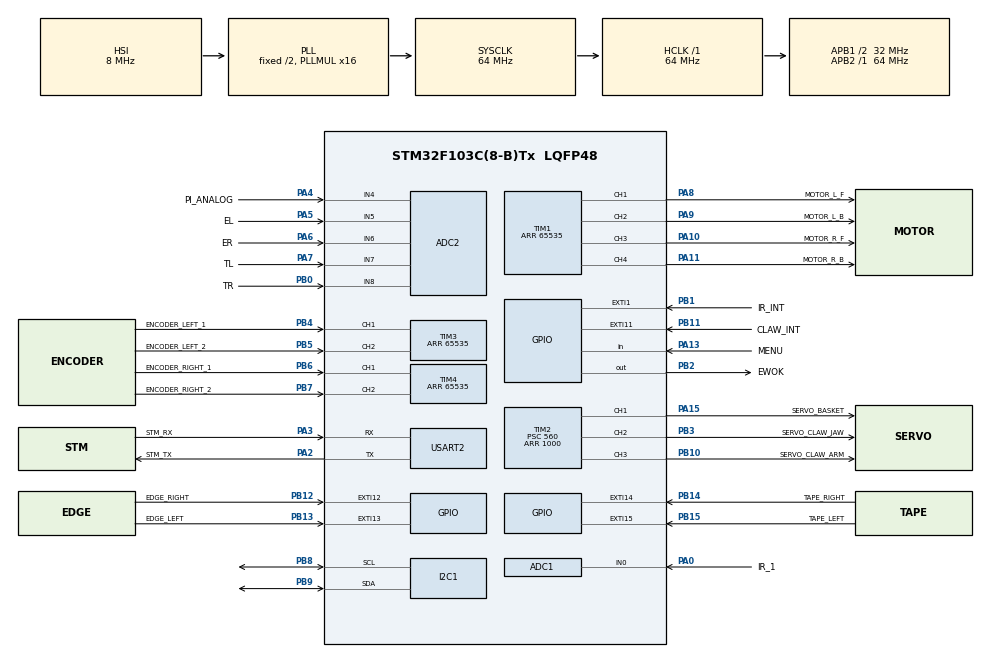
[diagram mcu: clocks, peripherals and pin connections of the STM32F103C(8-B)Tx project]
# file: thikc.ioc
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ADC1.Channel-0\#ChannelRegularConversion=ADC_CHANNEL_0
ADC1.ContinuousConvMode=ENABLE
ADC1.DataAlign=ADC_DATAALIGN_RIGHT
ADC1.DiscontinuousConvMode=DISABLE
ADC1.EnableAnalogWatchDog=false
ADC1.EnableRegularConversion=ENABLE
ADC1.ExternalTrigConv=ADC_SOFTWARE_START
ADC1.InjNumberOfConversion=0
ADC1.NbrOfConversion=1
ADC1.NbrOfConversionFlag=1
ADC1.Rank-0\#ChannelRegularConversion=1
ADC1.SamplingTime-0\#ChannelRegularConversion=ADC_SAMPLETIME_239CYCLES_5
ADC1.ScanConvMode=ADC_SCAN_DISABLE
ADC1.master=1
ADC2.Channel-21\#ChannelRegularConversion=ADC_CHANNEL_4
ADC2.ContinuousConvMode=ENABLE
ADC2.DataAlign=ADC_DATAALIGN_RIGHT
ADC2.DiscontinuousConvMode=DISABLE
ADC2.EnableAnalogWatchDog=false
ADC2.EnableRegularConversion=ENABLE
ADC2.ExternalTrigConv=ADC_SOFTWARE_START
ADC2.InjNumberOfConversion=0
ADC2.NbrOfConversion=1
ADC2.NbrOfConversionFlag=1
ADC2.Rank-21\#ChannelRegularConversion=1
ADC2.SamplingTime-21\#ChannelRegularConversion=ADC_SAMPLETIME_239CYCLES_5
ADC2.ScanConvMode=ADC_SCAN_DISABLE
Dma.ADC1.0.Direction=DMA_PERIPH_TO_MEMORY
Dma.ADC1.0.Instance=DMA1_Channel1
Dma.ADC1.0.MemDataAlignment=DMA_MDATAALIGN_WORD
Dma.ADC1.0.MemInc=DMA_MINC_ENABLE
Dma.ADC1.0.Mode=DMA_CIRCULAR
Dma.ADC1.0.PeriphDataAlignment=DMA_PDATAALIGN_WORD
Dma.ADC1.0.PeriphInc=DMA_PINC_DISABLE
Dma.ADC1.0.Priority=DMA_PRIORITY_VERY_HIGH
Dma.Request0=ADC1
Mcu.Family=STM32F1
Mcu.Name=STM32F103C(8-B)Tx
Mcu.Package=LQFP48
NVIC.ADC1_2_IRQn=true\:0\:0\:false\:false\:true\:true
NVIC.DMA1_Channel1_IRQn=true\:0\:0\:false\:false\:true\:false
NVIC.EXTI15_10_IRQn=true\:0\:0\:false\:false\:true\:true
NVIC.EXTI1_IRQn=true\:0\:0\:false\:false\:true\:true
NVIC.PriorityGroup=NVIC_PRIORITYGROUP_4
PA0-WKUP.GPIO_Label=IR_1
PA0-WKUP.Signal=ADCx_IN0
PA10.GPIO_Label=MOTOR_R_F
PA10.GPIO_Speed=GPIO_SPEED_FREQ_HIGH
PA10.Signal=S_TIM1_CH3
PA11.GPIO_Label=MOTOR_R_B
PA11.GPIO_Speed=GPIO_SPEED_FREQ_HIGH
PA11.Signal=S_TIM1_CH4
PA13.GPIO_Label=MENU
PA13.GPIO_PuPd=GPIO_PULLUP
PA13.Signal=GPIO_Input
PA15.GPIO_Label=SERVO_BASKET
PA15.GPIO_ModeDefaultPP=GPIO_MODE_AF_OD
PA15.GPIO_Speed=GPIO_SPEED_FREQ_HIGH
PA15.Signal=S_TIM2_CH1_ETR
PA2.GPIO_Label=STM_TX
PA2.Mode=Asynchronous
PA2.Signal=USART2_TX
PA3.GPIO_Label=STM_RX
PA3.Mode=Asynchronous
PA3.Signal=USART2_RX
PA4.GPIO_Label=PI_ANALOG
PA4.Signal=ADCx_IN4
PA5.GPIO_Label=EL
PA5.Signal=ADCx_IN5
PA6.GPIO_Label=ER
PA6.Signal=ADCx_IN6
PA7.GPIO_Label=TL
PA7.Signal=ADCx_IN7
PA8.GPIO_Label=MOTOR_L_F
PA8.GPIO_Speed=GPIO_SPEED_FREQ_HIGH
PA8.Signal=S_TIM1_CH1
PA9.GPIO_Label=MOTOR_L_B
PA9.GPIO_Speed=GPIO_SPEED_FREQ_HIGH
PA9.Signal=S_TIM1_CH2
PB0.GPIO_Label=TR
PB0.Signal=ADCx_IN8
PB1.GPIO_Label=IR_INT
PB1.Signal=GPXTI1
PB10.GPIO_Label=SERVO_CLAW_ARM
PB10.GPIO_ModeDefaultPP=GPIO_MODE_AF_OD
PB10.GPIO_Speed=GPIO_SPEED_FREQ_HIGH
PB10.Signal=S_TIM2_CH3
PB11.GPIO_Label=CLAW_INT
PB11.GPIO_ModeDefaultEXTI=GPIO_MODE_IT_FALLING
PB11.Signal=GPXTI11
PB12.GPIO_Label=EDGE_RIGHT
PB12.GPIO_PuPd=GPIO_PULLUP
PB12.Signal=GPXTI12
PB13.GPIO_Label=EDGE_LEFT
PB13.GPIO_PuPd=GPIO_PULLUP
PB13.Signal=GPXTI13
PB14.GPIO_Label=TAPE_RIGHT
PB14.GPIO_PuPd=GPIO_PULLUP
PB14.Signal=GPXTI14
PB15.GPIO_Label=TAPE_LEFT
PB15.GPIO_PuPd=GPIO_PULLUP
PB15.Signal=GPXTI15
PB2.GPIO_Label=EWOK
PB2.Signal=GPIO_Output
PB3.GPIO_Label=SERVO_CLAW_JAW
PB3.GPIO_ModeDefaultPP=GPIO_MODE_AF_OD
PB3.GPIO_Speed=GPIO_SPEED_FREQ_HIGH
PB3.Signal=S_TIM2_CH2
PB4.GPIO_Label=ENCODER_LEFT_1
PB4.GPIO_PuPd=GPIO_PULLUP
PB4.Signal=S_TIM3_CH1
PB5.GPIO_Label=ENCODER_LEFT_2
PB5.GPIO_PuPd=GPIO_PULLUP
PB5.Signal=S_TIM3_CH2
PB6.GPIO_Label=ENCODER_RIGHT_1
PB6.GPIO_PuPd=GPIO_PULLUP
PB6.Signal=S_TIM4_CH1
PB7.GPIO_Label=ENCODER_RIGHT_2
PB7.GPIO_PuPd=GPIO_PULLUP
PB7.Signal=S_TIM4_CH2
PB8.Mode=I2C
PB8.Signal=I2C1_SCL
PB9.Mode=I2C
PB9.Signal=I2C1_SDA
ProjectManager.HeapSize=0x200
ProjectManager.StackSize=0x400
ProjectManager.TargetToolchain=Makefile
RCC.ADCPresc=RCC_ADCPCLK2_DIV6
RCC.AHBFreq_Value=64000000
RCC.APB1CLKDivider=RCC_HCLK_DIV2
RCC.APB1Freq_Value=32000000
RCC.APB1TimFreq_Value=64000000
RCC.APB2Freq_Value=64000000
RCC.APB2TimFreq_Value=64000000
RCC.HCLKFreq_Value=64000000
RCC.PLLMUL=RCC_PLL_MUL16
RCC.SYSCLKFreq_VALUE=64000000
RCC.SYSCLKSource=RCC_SYSCLKSOURCE_PLLCLK
RCC.USBFreq_Value=64000000
SH.ADCx_IN0.0=ADC1_IN0,IN0
SH.ADCx_IN4.0=ADC2_IN4,IN4
SH.ADCx_IN5.0=ADC2_IN5,IN5
SH.ADCx_IN6.0=ADC2_IN6,IN6
SH.ADCx_IN7.0=ADC2_IN7,IN7
SH.ADCx_IN8.0=ADC2_IN8,IN8
SH.S_TIM1_CH1.0=TIM1_CH1,PWM Generation1 CH1
SH.S_TIM1_CH2.0=TIM1_CH2,PWM Generation2 CH2
SH.S_TIM1_CH3.0=TIM1_CH3,PWM Generation3 CH3
SH.S_TIM1_CH4.0=TIM1_CH4,PWM Generation4 CH4
SH.S_TIM2_CH1_ETR.0=TIM2_CH1,PWM Generation1 CH1
SH.S_TIM2_CH2.0=TIM2_CH2,PWM Generation2 CH2
SH.S_TIM2_CH3.0=TIM2_CH3,PWM Generation3 CH3
SH.S_TIM3_CH1.0=TIM3_CH1,Encoder_Interface
SH.S_TIM3_CH2.0=TIM3_CH2,Encoder_Interface
SH.S_TIM4_CH1.0=TIM4_CH1,Encoder_Interface
SH.S_TIM4_CH2.0=TIM4_CH2,Encoder_Interface
TIM1.AutomaticOutput=TIM_AUTOMATICOUTPUT_DISABLE
TIM1.Channel-PWM\ Generation1\ CH1=TIM_CHANNEL_1
TIM1.Channel-PWM\ Generation2\ CH2=TIM_CHANNEL_2
TIM1.Channel-PWM\ Generation3\ CH3=TIM_CHANNEL_3
TIM1.Channel-PWM\ Generation4\ CH4=TIM_CHANNEL_4
TIM1.Period=65535
TIM2.Channel-PWM\ Generation1\ CH1=TIM_CHANNEL_1
TIM2.Channel-PWM\ Generation2\ CH2=TIM_CHANNEL_2
TIM2.Channel-PWM\ Generation3\ CH3=TIM_CHANNEL_3
TIM2.Period=1000
TIM2.Prescaler=560
TIM3.EncoderMode=TIM_ENCODERMODE_TI12
TIM3.IC1Filter=15
TIM3.IC2Filter=15
TIM3.Period=65535
TIM4.EncoderMode=TIM_ENCODERMODE_TI12
TIM4.IC1Filter=15
TIM4.IC2Filter=15
TIM4.Period=65535
USART2.VirtualMode=VM_ASYNC
VP_SYS_VS_ND.Mode=No_Debug
VP_TIM1_VS_ClockSourceINT.Mode=Internal
VP_TIM2_VS_ClockSourceINT.Mode=Internal
board=custom

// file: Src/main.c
/**
 ******************************************************************************
 * @file           : main.c
 * @brief          : Main program body
 ******************************************************************************
 ** This notice applies to any and all portions of this file
 * that are not between comment pairs USER CODE BEGIN and
 * USER CODE END. Other portions of this file, whether
 * inserted by the user or by software development tools
 * are owned by their respective copyright owners.
 *
 * COPYRIGHT(c) 2018 STMicroelectronics
 *
 * Redistribution and use in source and binary forms, with or without modification,
 * are permitted provided that the following conditions are met:
 *   1. Redistributions of source code must retain the above copyright notice,
 *      this list of conditions and the following disclaimer.
 *   2. Redistributions in binary form must reproduce the above copyright notice,
 *      this list of conditions and the following disclaimer in the documentation
 *      and/or other materials provided with the distribution.
 *   3. Neither the name of STMicroelectronics nor the names of its contributors
 *      may be used to endorse or promote products derived from this software
 *      without specific prior written permission.
 *
 * THIS SOFTWARE IS PROVIDED BY THE COPYRIGHT HOLDERS AND CONTRIBUTORS "AS IS"
 * AND ANY EXPRESS OR IMPLIED WARRANTIES, INCLUDING, BUT NOT LIMITED TO, THE
 * IMPLIED WARRANTIES OF MERCHANTABILITY AND FITNESS FOR A PARTICULAR PURPOSE ARE
 * DISCLAIMED. IN NO EVENT SHALL THE COPYRIGHT HOLDER OR CONTRIBUTORS BE LIABLE
 * FOR ANY DIRECT, INDIRECT, INCIDENTAL, SPECIAL, EXEMPLARY, OR CONSEQUENTIAL
 * DAMAGES (INCLUDING, BUT NOT LIMITED TO, PROCUREMENT OF SUBSTITUTE GOODS OR
 * SERVICES; LOSS OF USE, DATA, OR PROFITS; OR BUSINESS INTERRUPTION) HOWEVER
 * CAUSED AND ON ANY THEORY OF LIABILITY, WHETHER IN CONTRACT, STRICT LIABILITY,
 * OR TORT (INCLUDING NEGLIGENCE OR OTHERWISE) ARISING IN ANY WAY OUT OF THE USE
 * OF THIS SOFTWARE, EVEN IF ADVISED OF THE POSSIBILITY OF SUCH DAMAGE.
 *
 ******************************************************************************
 */
#include "main.h"
#include "stm32f1xx_hal.h"
#include "adc.h"
#include "dma.h"
#include "i2c.h"
#include "tim.h"
#include "usart.h"
#include "gpio.h"

/* USER CODE BEGIN Includes */
#include "fonts.h"
#include "ssd1306.h"
#include "encoder.h"
#include "pid.h"
#include "filter.h"
#include "extern_vars.h"
#include <String.h>
#include "claw.h"

/* USER CODE END Includes */

/* USER CODE BEGIN PV */
/* Private variables ---------------------------------------------------------*/
uint16_t LEFT_SPEED = 40000;
uint16_t RIGHT_SPEED = 45000;
uint32_t dma_buffer[2048];
uint32_t ir_values[2048];
/* USER CODE END PV */

void SystemClock_Config(void);

/* USER CODE BEGIN PFP */
/* Private function prototypes -----------------------------------------------*/
void print(char msg[], int row);
void do_pid(PID_t *pid_struct);
PID_t menu();
void frequency_comparison(uint16_t freq1, uint16_t freq2, uint16_t GPIO_Pin);
void pi_navigation();
float calculate_heading(uint32_t adc_val);
void encoder_pid(PID_t *left_pid, ENCODER_t *left_enc, PID_t *right_pid, ENCODER_t *right_enc);
void set_motor_speed(uint32_t channel, uint32_t speed);
void turn();
void alarm_detect();

/* USER CODE END PFP */

/* USER CODE BEGIN 0 */
/**
 * @brief Circu;ar DMA buffer loading on each full buffer
 * DMA uses dma_buffer, transfers data to ir_values for us to use
 * Order of buffer: ir1, ir2, ir1, ir2...
 */
void HAL_ADC_ConvCpltCallback(ADC_HandleTypeDef *hadc)
{
    memcpy(ir_values, dma_buffer, sizeof(dma_buffer));
}

/* USER CODE END 0 */

int main(void)
{

    /* MCU Configuration----------------------------------------------------------*/

    /* Reset of all peripherals, Initializes the Flash interface and the Systick. */
    HAL_Init();

    /* Configure the system clock */
    SystemClock_Config();

    /* Initialize all configured peripherals */
    MX_GPIO_Init();
    MX_DMA_Init();
    MX_TIM4_Init();
    MX_TIM3_Init();
    MX_TIM1_Init();
    MX_ADC1_Init();
    MX_TIM2_Init();
    MX_USART2_UART_Init();
    MX_ADC2_Init();
    MX_I2C1_Init();
    /* USER CODE BEGIN 2 */

    /* Initialize peripherals */
    HAL_TIM_Encoder_Start(&htim3, TIM_CHANNEL_ALL);
    HAL_TIM_Encoder_Start(&htim4, TIM_CHANNEL_ALL);
    HAL_TIM_PWM_Start(&htim1, TIM_CHANNEL_1);
    HAL_TIM_PWM_Start(&htim1, TIM_CHANNEL_2);
    HAL_TIM_PWM_Start(&htim1, TIM_CHANNEL_3);
    HAL_TIM_PWM_Start(&htim1, TIM_CHANNEL_4);
    HAL_TIM_PWM_Start(&htim2, TIM_CHANNEL_1);
    HAL_TIM_PWM_Start(&htim2, TIM_CHANNEL_2);
    HAL_TIM_PWM_Start(&htim2, TIM_CHANNEL_3);
    ssd1306_Init();
    print("Starting...", 0);
    claw_init(&htim2);

    /* Initialize other stuffs*/
    // 3 * gain * kp = 20,000
    ENCODER_t left_enc = encoder_Init(TIM3);
    ENCODER_t right_enc = encoder_Init(TIM4);
    PID_t left_pid = pid_Init(1000, 250, 0, 2, 2);
    PID_t right_pid = pid_Init(6000, 500, 0, 2, 2);
    //PID_t pid_struct = menu();
    /* USER CODE END 2 */

    /* Infinite loop */
    /* USER CODE BEGIN WHILE */

    while (1)
    {
        // // encoder_pid(&left_pid, &left_enc, &right_pid, &right_enc);
        print("in whiel", 0);
        // set_motor_speed(TIM_CHANNEL_1, LEFT_SPEED);
        // set_motor_speed(TIM_CHANNEL_3, RIGHT_SPEED);
        // if (CLAW_INT_STATE == FLAGGED)
        // {
        //     print("CLAW INT", 0);
        //     set_motor_speed(TIM_CHANNEL_1, 0);
        //     set_motor_speed(TIM_CHANNEL_3, 0);
        //     actuatengo(&htim2, TIM_CHANNEL_2, TIM_CHANNEL_3);
        //     HAL_Delay(1000);
        //     CLAW_INT_STATE = NOT_FLAGGED;
        // }
        if (PI_INT_STATE == FLAGGED)
        {
            print("in pi int", 0);
            turn();

            set_motor_speed(TIM_CHANNEL_1, LEFT_SPEED);
            set_motor_speed(TIM_CHANNEL_3, RIGHT_SPEED);
            int start = HAL_GetTick();
            while (HAL_GetTick() - start < 2000)
            {
                // encoder_dist_pid(&left_pid);
                if (CLAW_INT_STATE == FLAGGED)
                {
                    set_motor_speed(TIM_CHANNEL_1, 0);
                    set_motor_speed(TIM_CHANNEL_3, 0);
                    actuatengo(&htim2, TIM_CHANNEL_2, TIM_CHANNEL_3);
                    CLAW_INT_STATE = NOT_FLAGGED;
                    break;
                }
            }
            uint8_t pic_plz = 1;
            HAL_UART_Transmit(&huart2, pic_plz, sizeof(pic_plz), 10000);
            PI_INT_STATE = NOT_FLAGGED;
            set_motor_speed(TIM_CHANNEL_1, 0);
            set_motor_speed(TIM_CHANNEL_3, 0);
        }
        // if (IR_INT_STATE == FLAGGED)
        // {
        //     alarm_detect();
        // }
        /* USER CODE END WHILE */

    }
}

void SystemClock_Config(void)
{

    RCC_OscInitTypeDef RCC_OscInitStruct;
    RCC_ClkInitTypeDef RCC_ClkInitStruct;
    RCC_PeriphCLKInitTypeDef PeriphClkInit;

    /**Initializes the CPU, AHB and APB busses clocks
    */
    RCC_OscInitStruct.OscillatorType = RCC_OSCILLATORTYPE_HSI;
    RCC_OscInitStruct.HSIState = RCC_HSI_ON;
    RCC_OscInitStruct.HSICalibrationValue = 16;
    RCC_OscInitStruct.PLL.PLLState = RCC_PLL_ON;
    RCC_OscInitStruct.PLL.PLLSource = RCC_PLLSOURCE_HSI_DIV2;
    RCC_OscInitStruct.PLL.PLLMUL = RCC_PLL_MUL16;
    if (HAL_RCC_OscConfig(&RCC_OscInitStruct) != HAL_OK)
    {
        _Error_Handler(__FILE__, __LINE__);
    }

    /**Initializes the CPU, AHB and APB busses clocks
    */
    RCC_ClkInitStruct.ClockType = RCC_CLOCKTYPE_HCLK | RCC_CLOCKTYPE_SYSCLK | RCC_CLOCKTYPE_PCLK1 | RCC_CLOCKTYPE_PCLK2;
    RCC_ClkInitStruct.SYSCLKSource = RCC_SYSCLKSOURCE_PLLCLK;
    RCC_ClkInitStruct.AHBCLKDivider = RCC_SYSCLK_DIV1;
    RCC_ClkInitStruct.APB1CLKDivider = RCC_HCLK_DIV2;
    RCC_ClkInitStruct.APB2CLKDivider = RCC_HCLK_DIV1;

    if (HAL_RCC_ClockConfig(&RCC_ClkInitStruct, FLASH_LATENCY_2) != HAL_OK)
    {
        _Error_Handler(__FILE__, __LINE__);
    }

    PeriphClkInit.PeriphClockSelection = RCC_PERIPHCLK_ADC;
    PeriphClkInit.AdcClockSelection = RCC_ADCPCLK2_DIV6;
    if (HAL_RCCEx_PeriphCLKConfig(&PeriphClkInit) != HAL_OK)
    {
        _Error_Handler(__FILE__, __LINE__);
    }

    /**Configure the Systick interrupt time
    */
    HAL_SYSTICK_Config(HAL_RCC_GetHCLKFreq() / 1000);

    /**Configure the Systick
    */
    HAL_SYSTICK_CLKSourceConfig(SYSTICK_CLKSOURCE_HCLK);

    /* SysTick_IRQn interrupt configuration */
    HAL_NVIC_SetPriority(SysTick_IRQn, 0, 0);
}

/* USER CODE BEGIN 4 */

/*
 * Assume motors are not on.
 * Reads adc, turns left or right based on voltage. Left max= 0 , no turn = 1.65 V, right max = 3.3V.
 */
void turn()
{
    HAL_ADC_Start(&hadc2);
    if (HAL_ADC_PollForConversion(&hadc2, 100) == HAL_OK)
    {
        float volts = calculate_heading(HAL_ADC_GetValue(&hadc2));
        uint16_t counts = TURN_CONST * fabs(volts);
        TIM3->CNT = 0;
        TIM4->CNT = 0;

        char msg[18] = "";
        sprintf(msg, "cnts: %d", counts);
        print(msg, 0);
        int pre_dec = (int)(volts / 1);
        int post_dec = (int)((volts - pre_dec) * 1000);
        sprintf(msg, "vlts: %d.%d", pre_dec, post_dec);
        print(msg, 2);

        if (volts < -0.07)  // FIXME: Ben changed this
        {
            set_motor_speed(TIM_CHANNEL_1, 0);
            set_motor_speed(TIM_CHANNEL_3, 30000);
            while (TIM4->CNT < counts)
            {
                sprintf(msg, "TIM4->CNT: %d", TIM4->CNT);
                print(msg, 4);
            }
            sprintf(msg, "TIM4->CNT: %d", TIM4->CNT);
            print(msg, 4);
            TIM4->CNT = 0;
        }
        else if (volts > 0.07)  // FIXME: Ben changed this
        {
            set_motor_speed(TIM_CHANNEL_1, 30000);
            set_motor_speed(TIM_CHANNEL_3, 0);
            while (TIM3->CNT < counts)
            {
                sprintf(msg, "TIM3->CNT: %d", TIM3->CNT);
                print(msg, 4);
            }
            sprintf(msg, "TIM3->CNT: %d", TIM3->CNT);
            print(msg, 4);
            TIM3->CNT = 0;
        }
        set_motor_speed(TIM_CHANNEL_1, 0);
        set_motor_speed(TIM_CHANNEL_3, 0);
    }
    else
    {
        print("Shits fucked yo", 0);
    }
    HAL_ADC_Stop(&hadc2);
}

void pi_navigation()
{
    HAL_ADC_Start(&hadc2);
    print("Pi nav", 0);
    if (HAL_ADC_PollForConversion(&hadc2, 1000000) == HAL_OK)
    {
        float heading = calculate_heading(HAL_ADC_GetValue(&hadc2));
        if (heading < 0)
        {
            set_motor_speed(TIM_CHANNEL_2, 10000);
            set_motor_speed(TIM_CHANNEL_3, 10000);
            heading *= -1;
        }
        else if (heading > 0)
        {
            set_motor_speed(TIM_CHANNEL_1, 10000);
            set_motor_speed(TIM_CHANNEL_4, 10000);
        }
        HAL_Delay(2000 * heading);
        set_motor_speed(TIM_CHANNEL_1, 20000);
        set_motor_speed(TIM_CHANNEL_3, 20000);
    }
    else
    {
        print("No adc", 0);
    }
    HAL_ADC_Stop(&hadc2);
    PI_INT_STATE = NOT_FLAGGED;
}

/**
 * Resistor ladder: 8-bit, 0->3.3v.
 * ADC: 12-bit, 0->3.3V
 *
 * @param adc_val, value read from ADC.
 * @return heading as a percentage from -50 (left) to 50 (right).
 **/
float calculate_heading(uint32_t adc_val)
{
    return adc_val / 4096.0 - 0.5;
}

void alarm_detect()
{
    HAL_ADC_Start_DMA(&hadc1, dma_buffer, sizeof(dma_buffer) / sizeof(dma_buffer[0]));
    //TODO calculate time needed to fill first buffer
    HAL_Delay(500);
    while (1)
    {
        char msg[18] = "";
        // Sampling frequency: 10.6667e6/(2*(239.5+15))
        // freq one
        double val = goertzel(ir_values, 20956, 10000, sizeof(dma_buffer) / sizeof(dma_buffer[0]), 0);
        int predec = (int)(val / 1);
        int postdec = (int)((val - predec) * 1000);
        sprintf(msg, "%d.%d\n", predec, postdec);
        print(msg, 0);
        //compare
        if (val > 10)
        {
            break;
        }
    }
    print("Go", 0);
    HAL_ADC_Stop_DMA(&hadc1);
    IR_INT_STATE = NOT_FLAGGED;
}

void frequency_comparison(uint16_t freq1, uint16_t freq2, uint16_t GPIO_Pin)
{
    uint16_t offset = GPIO_Pin == IR_1_Pin ? 0 : GPIO_Pin == IR_2_Pin ? 1 : 2;
    HAL_ADC_Start_DMA(&hadc1, dma_buffer, sizeof(dma_buffer) / sizeof(dma_buffer[0]));
    //TODO calculate time needed to fill first buffer
    HAL_Delay(500);
    //TODO figure out thresholds and what we want to look for
    while (1)
    {
        char msg[18] = "";
        // Sampling frequency: 10.6667e6/(2*(239.5+15))
        // freq one
        double val1 = goertzel(ir_values, 20956, freq1, sizeof(dma_buffer) / sizeof(dma_buffer[0]), offset);
        int predec = (int)(val1 / 1);
        int postdec = (int)((val1 - predec) * 1000);
        sprintf(msg, "%d.%d\n", predec, postdec);
        print(msg, 0);
        HAL_UART_Transmit(&huart2, (uint8_t *)msg, strlen(msg), 0xFFFF);
        //freq2
        double val2 = goertzel(ir_values, 20956, freq2, sizeof(dma_buffer) / sizeof(dma_buffer[0]), offset);
        predec = (int)(val2 / 1);
        postdec = (int)((val2 - predec) * 1000);
        sprintf(msg, "%d.%d", predec, postdec);
        HAL_UART_Transmit(&huart2, (uint8_t *)msg, strlen(msg), 0xFFFF);
        //compare
        if (val1 > val2)
        {
            break;
        }
    }
    HAL_ADC_Stop_DMA(&hadc1);
    IR_INT_STATE = NOT_FLAGGED;
}

/**
 * @brief prints string to row, rows from 0 - 6, resets screen when printing from row 0
 * @param msg, string to print
 * @param row, row to print msg to
 */
void print(char *msg, int row)
{
    if (row == 0)
    {
        ssd1306_Fill(Black);
    }
    ssd1306_SetCursor(0, row * 10);
    ssd1306_WriteString(msg, Font_7x10, White);
    ssd1306_UpdateScreen();
}

PID_t menu()
{
    print("Starting", 0);
    char msg[20] = "";
    int pid_select = 0;
    uint32_t values[3] = {0, 0, 0};
    while (1)
    {
        if (HAL_GPIO_ReadPin(MENU_GPIO_Port, MENU_Pin) == 0)
        {
            sprintf(msg, "%lu", values[pid_select]);
            print(msg, 0);
            TIM4->CNT = values[pid_select];
            while (HAL_GPIO_ReadPin(MENU_GPIO_Port, MENU_Pin) == 0)
            {
                values[pid_select] = TIM4->CNT;
                sprintf(msg, "%lu", values[pid_select]);
                print(msg, 0);
            }
            ++pid_select;
        }
        if (pid_select == 3)
            break;
    }
    while (1)
    {
        int speed = 20000;
        if (HAL_GPIO_ReadPin(MENU_GPIO_Port, MENU_Pin) == 0)
        {
            if (pid_select == 3)
            {
                HAL_TIM_PWM_Start(&htim1, TIM_CHANNEL_1);
                HAL_TIM_PWM_Stop(&htim1, TIM_CHANNEL_3);
            }
            else
            {
                HAL_TIM_PWM_Stop(&htim1, TIM_CHANNEL_1);
                HAL_TIM_PWM_Start(&htim1, TIM_CHANNEL_3);
            }
            sprintf(msg, "%d", speed);
            print(msg, 0);
            TIM4->CNT = speed;
            while (HAL_GPIO_ReadPin(MENU_GPIO_Port, MENU_Pin) == 0)
            {
                speed = TIM4->CNT;
                sprintf(msg, "%d", speed);
                print(msg, 0);
                if (pid_select == 3)
                {
                    __HAL_TIM_SET_COMPARE(&htim1, TIM_CHANNEL_1, speed);
                    LEFT_SPEED = speed;
                }
                else
                {
                    __HAL_TIM_SET_COMPARE(&htim1, TIM_CHANNEL_3, speed);
                    RIGHT_SPEED = speed;
                }
            }
            ++pid_select;
        }
        if (pid_select == 5)
        {
            break;
        }
    }
    HAL_TIM_PWM_Stop(&htim1, TIM_CHANNEL_1);
    HAL_TIM_PWM_Stop(&htim1, TIM_CHANNEL_3);
    sprintf(msg, "P %lu", values[0]);
    print(msg, 0);
    sprintf(msg, "D %lu", values[1]);
    print(msg, 1);
    sprintf(msg, "I %lu", values[2]);
    print(msg, 2);
    sprintf(msg, "L %u", LEFT_SPEED);
    print(msg, 3);
    sprintf(msg, "R %u", RIGHT_SPEED);
    print(msg, 4);
    HAL_Delay(1000);
    HAL_TIM_PWM_Start(&htim1, TIM_CHANNEL_1);
    HAL_TIM_PWM_Start(&htim1, TIM_CHANNEL_3);
    return pid_Init(values[0], values[1], values[2], 5, 100);
}

void do_pid(PID_t *pid_struct)
{
    /* Read sensors */
    uint8_t left = HAL_GPIO_ReadPin(TAPE_LEFT_GPIO_Port, TAPE_LEFT_Pin) ? 0 : 1;
    uint8_t right = HAL_GPIO_ReadPin(TAPE_RIGHT_GPIO_Port, TAPE_RIGHT_Pin) ? 0 : 1;

    /* Get error */
    if (left && right)
    {
        pid_struct->err = 0;
    }
    else if (left && !right)
    {
        pid_struct->err = 1;
    }
    else if (!left && right)
    {
        pid_struct->err = -1;
    }
    else if (!left && !right && (pid_struct->err < 0))
    {
        pid_struct->err = -5;
    }
    else if (!left && !right && (pid_struct->err > 0))
    {
        pid_struct->err = 5;
    }

    /* Get gain */
    int16_t gain = pid_GetGain(pid_struct);
    char msg[20] = "";
    sprintf(msg, "%d", (int)gain);
    print(msg, 0);
    /* Set Motor Speeds*/
    int lspeed = LEFT_SPEED;
    int rspeed = RIGHT_SPEED;
    if (gain < 0)
    {
        lspeed = LEFT_SPEED - gain;
    }
    else if (gain > 0)
    {
        rspeed = RIGHT_SPEED + gain;
    }
    __HAL_TIM_SET_COMPARE(&htim1, TIM_CHANNEL_1, lspeed);
    __HAL_TIM_SET_COMPARE(&htim1, TIM_CHANNEL_3, rspeed);
}

void set_motor_speed(uint32_t channel, uint32_t speed)
{
    if (channel == TIM_CHANNEL_1)
    {
        __HAL_TIM_SET_COMPARE(&htim1, TIM_CHANNEL_2, 0);
        __HAL_TIM_SET_COMPARE(&htim1, TIM_CHANNEL_1, speed);
    }
    else if (channel == TIM_CHANNEL_2)
    {
        __HAL_TIM_SET_COMPARE(&htim1, TIM_CHANNEL_1, 0);
        __HAL_TIM_SET_COMPARE(&htim1, TIM_CHANNEL_2, speed);
    }
    else if (channel == TIM_CHANNEL_3)
    {
        __HAL_TIM_SET_COMPARE(&htim1, TIM_CHANNEL_4, 0);
        __HAL_TIM_SET_COMPARE(&htim1, TIM_CHANNEL_3, speed);
    }
    else if (channel == TIM_CHANNEL_4)
    {
        __HAL_TIM_SET_COMPARE(&htim1, TIM_CHANNEL_3, 0);
        __HAL_TIM_SET_COMPARE(&htim1, TIM_CHANNEL_4, speed);
    }
}

void encoder_pid(PID_t *left_pid, ENCODER_t *left_enc, PID_t *right_pid, ENCODER_t *right_enc)
{
    /* Get error */
    float l_enc = update_encoder(left_enc);
    float r_enc = update_encoder(right_enc);
    left_pid->err = ENCODER_GOAL - l_enc;
    right_pid->err = ENCODER_GOAL - r_enc;

    /* Get gain */
    int32_t left_gain = pid_GetGain(left_pid);
    int32_t right_gain = pid_GetGain(right_pid);

    int l_predec = (int)(l_enc / 1);
    int l_postdec = (int)((l_enc - l_predec) * 1000);
    int r_predec = (int)(r_enc / 1);
    int r_postdec = (int)((r_enc - r_predec) * 1000);
    char msg[18] = "";
    sprintf(msg, "LG: %d.%d", l_predec, l_postdec);
    print(msg, 0);
    sprintf(msg, "RG: %d.%d", r_predec, r_postdec);
    print(msg, 1);

    /* Set Motor Speeds*/
    int lspeed = LEFT_SPEED + left_gain;
    int rspeed = RIGHT_SPEED + right_gain;

    sprintf(msg, "LS: %d", (int)lspeed);
    print(msg, 3);
    sprintf(msg, "RS: %d", (int)rspeed);
    print(msg, 4);
    // set_motor_speed
    set_motor_speed(TIM_CHANNEL_1, lspeed);
    set_motor_speed(TIM_CHANNEL_3, rspeed);
}

void encoder_dist_pid(PID_t *pid_obj)
{
    /* Get error */
    uint32_t l_enc = TIM3->CNT;
    uint32_t r_enc = TIM4->CNT;
    pid_obj->err = l_enc - r_enc;

    /* Get gain */
    int32_t gain = pid_GetGain(pid_obj);

    // Print
    int l_predec = (int)(l_enc / 1);
    int l_postdec = (int)((l_enc - l_predec) * 1000);
    int r_predec = (int)(r_enc / 1);
    int r_postdec = (int)((r_enc - r_predec) * 1000);
    char msg[18] = "";
    sprintf(msg, "LG: %d.%d", l_predec, l_postdec);
    print(msg, 0);
    sprintf(msg, "RG: %d.%d", r_predec, r_postdec);
    print(msg, 1);
    // Print

    /* Set Motor Speeds*/
    int lspeed = LEFT_SPEED - gain;
    int rspeed = RIGHT_SPEED + gain;

    // Print
    sprintf(msg, "err: %d", (int)pid_obj->err);
    print(msg, 3);
    sprintf(msg, "gain: %d", (int)gain);
    print(msg, 4);
    // Print

    // set_motor_speed
    set_motor_speed(TIM_CHANNEL_1, lspeed);
    set_motor_speed(TIM_CHANNEL_3, rspeed);

    // Reset CNTs for overflows
    TIM4->CNT = 0;
    TIM3->CNT = 0;
}

/* USER CODE END 4 */

void _Error_Handler(char *file, int line)
{
    while (1)
    {
    }
}

/************************ (C) COPYRIGHT STMicroelectronics *****END OF FILE****/
